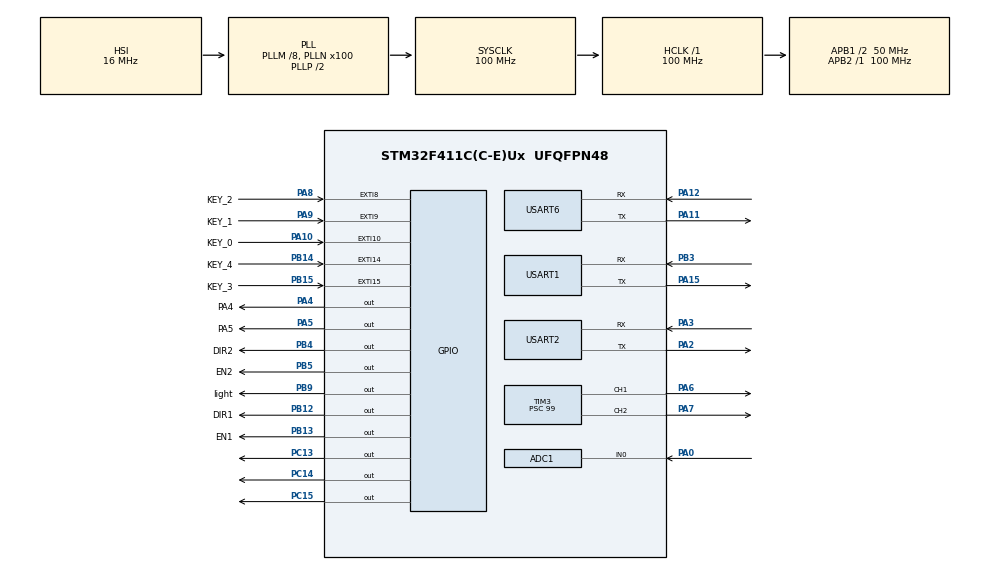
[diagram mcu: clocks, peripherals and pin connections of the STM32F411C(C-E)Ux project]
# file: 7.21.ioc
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ADC1.Channel-0\#ChannelRegularConversion=ADC_CHANNEL_0
ADC1.NbrOfConversionFlag=1
ADC1.Rank-0\#ChannelRegularConversion=1
ADC1.SamplingTime-0\#ChannelRegularConversion=ADC_SAMPLETIME_3CYCLES
ADC1.master=1
Mcu.Family=STM32F4
Mcu.Name=STM32F411C(C-E)Ux
Mcu.Package=UFQFPN48
NVIC.PriorityGroup=NVIC_PRIORITYGROUP_4
NVIC.TIM2_IRQn=true\:0\:0\:false\:false\:true\:true\:true\:true
NVIC.TIM4_IRQn=true\:0\:0\:false\:false\:true\:true\:true\:true
NVIC.USART1_IRQn=true\:0\:0\:false\:false\:true\:true\:true\:true
NVIC.USART2_IRQn=true\:0\:0\:false\:false\:true\:true\:true\:true
NVIC.USART6_IRQn=true\:0\:0\:false\:false\:true\:true\:true\:true
PA0-WKUP.Signal=ADCx_IN0
PA10.GPIO_Label=KEY_0
PA10.GPIO_PuPd=GPIO_PULLDOWN
PA10.Signal=GPXTI10
PA11.Mode=Asynchronous
PA11.Signal=USART6_TX
PA12.Mode=Asynchronous
PA12.Signal=USART6_RX
PA13.Mode=Serial_Wire
PA13.Signal=SYS_JTMS-SWDIO
PA14.Mode=Serial_Wire
PA14.Signal=SYS_JTCK-SWCLK
PA15.Mode=Asynchronous
PA15.Signal=USART1_TX
PA2.Mode=Asynchronous
PA2.Signal=USART2_TX
PA3.Mode=Asynchronous
PA3.Signal=USART2_RX
PA4.GPIO_Label=PA4
PA4.Signal=GPIO_Output
PA5.GPIO_Label=PA5
PA5.Signal=GPIO_Output
PA6.Signal=S_TIM3_CH1
PA7.Signal=S_TIM3_CH2
PA8.GPIO_Label=KEY_2
PA8.GPIO_PuPd=GPIO_PULLDOWN
PA8.Signal=GPXTI8
PA9.GPIO_Label=KEY_1
PA9.GPIO_PuPd=GPIO_PULLDOWN
PA9.Signal=GPXTI9
PB12.GPIO_Label=DIR1
PB12.GPIO_PuPd=GPIO_PULLUP
PB12.Signal=GPIO_Output
PB13.GPIO_Label=EN1
PB13.GPIO_PuPd=GPIO_PULLUP
PB13.Signal=GPIO_Output
PB14.GPIO_Label=KEY_4
PB14.GPIO_PuPd=GPIO_PULLDOWN
PB14.Signal=GPXTI14
PB15.GPIO_Label=KEY_3
PB15.GPIO_PuPd=GPIO_PULLDOWN
PB15.Signal=GPXTI15
PB3.Mode=Asynchronous
PB3.Signal=USART1_RX
PB4.GPIO_Label=DIR2
PB4.GPIO_PuPd=GPIO_PULLUP
PB4.Signal=GPIO_Output
PB5.GPIO_Label=EN2
PB5.GPIO_PuPd=GPIO_PULLUP
PB5.Signal=GPIO_Output
PB9.GPIO_Label=light
PB9.GPIO_PuPd=GPIO_PULLDOWN
PB9.GPIO_Speed=GPIO_SPEED_FREQ_LOW
PB9.PinState=GPIO_PIN_RESET
PB9.Signal=GPIO_Output
PC13-ANTI_TAMP.GPIO_Speed=GPIO_SPEED_FREQ_LOW
PC13-ANTI_TAMP.Signal=GPIO_Output
PC14-OSC32_IN.GPIO_Speed=GPIO_SPEED_FREQ_LOW
PC14-OSC32_IN.Signal=GPIO_Output
PC15-OSC32_OUT.GPIO_Speed=GPIO_SPEED_FREQ_LOW
PC15-OSC32_OUT.Signal=GPIO_Output
PH0\ -\ OSC_IN.Mode=HSE-External-Oscillator
PH0\ -\ OSC_IN.Signal=RCC_OSC_IN
PH1\ -\ OSC_OUT.Mode=HSE-External-Oscillator
PH1\ -\ OSC_OUT.Signal=RCC_OSC_OUT
ProjectManager.HeapSize=0x200
ProjectManager.StackSize=0x400
ProjectManager.TargetToolchain=MDK-ARM V5.32
RCC.48MHZClocksFreq_Value=50000000
RCC.AHBFreq_Value=100000000
RCC.APB1CLKDivider=RCC_HCLK_DIV2
RCC.APB1Freq_Value=50000000
RCC.APB1TimFreq_Value=100000000
RCC.APB2Freq_Value=100000000
RCC.APB2TimFreq_Value=100000000
RCC.CortexFreq_Value=100000000
RCC.HCLKFreq_Value=100000000
RCC.HSE_VALUE=25000000
RCC.HSI_VALUE=16000000
RCC.LSE_VALUE=32768
RCC.PLLM=8
RCC.PLLN=100
RCC.SYSCLKFreq_VALUE=100000000
RCC.SYSCLKSource=RCC_SYSCLKSOURCE_PLLCLK
RCC.VCOOutputFreq_Value=200000000
SH.ADCx_IN0.0=ADC1_IN0,IN0
SH.S_TIM3_CH1.0=TIM3_CH1,PWM Generation1 CH1
SH.S_TIM3_CH2.0=TIM3_CH2,PWM Generation2 CH2
TIM2.Period=9999
TIM2.Prescaler=9
TIM3.Channel-PWM\ Generation1\ CH1=TIM_CHANNEL_1
TIM3.Channel-PWM\ Generation2\ CH2=TIM_CHANNEL_2
TIM3.Period=20000-1
TIM3.Prescaler=99
TIM4.Period=9999
TIM4.Prescaler=9
USART1.VirtualMode=VM_ASYNC
USART2.VirtualMode=VM_ASYNC
USART6.VirtualMode=VM_ASYNC
VP_TIM2_VS_ClockSourceINT.Mode=Internal
VP_TIM3_VS_ClockSourceINT.Mode=Internal
VP_TIM4_VS_ClockSourceINT.Mode=Internal
board=custom

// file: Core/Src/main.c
/* USER CODE BEGIN Header */
/**
  ******************************************************************************
  * @file           : main.c
  * @brief          : Main program body
  ******************************************************************************
  * @attention
  *
  * Copyright (c) 2025 STMicroelectronics.
  * All rights reserved.
  *
  * This software is licensed under terms that can be found in the LICENSE file
  * in the root directory of this software component.
  * If no LICENSE file comes with this software, it is provided AS-IS.
  *
  ******************************************************************************
  */
/* USER CODE END Header */
#include "main.h"
#include "adc.h"
#include "tim.h"
#include "usart.h"
#include "gpio.h"

/* USER CODE BEGIN Includes */
#include "Stepper_Motor.h"
#include "Delay.h"
#include "yuntai.h"
#include "pid.h"
#include "oled.h"
#include "Bujin.h"
#include "usart_1.h"
#include "serial_it_config.h"
#include "duoji.h"
#include "pid_duoji.h"
#include "No_Mcu_Ganv_Grayscale_Sensor_Config.h"
/* USER CODE END Includes */

/* USER CODE BEGIN PTD */
void HAL_UART_RxCpltCallback(UART_HandleTypeDef *huart)

{
    if(huart->Instance == USART1)
    {
        UART1_RxCpltCallback(huart);
    }
    else if(huart->Instance == USART2)
    {
        UART2_RxCpltCallback(huart);
    }
    else if(huart->Instance == USART6)
    {
        UART3_RxCpltCallback(huart);
    }
}

/* USER CODE END PTD */

void SystemClock_Config(void);

int main(void)
{

  /* USER CODE BEGIN 1 */
	extern int flag;
  /* USER CODE END 1 */

  /* MCU Configuration--------------------------------------------------------*/

  /* Reset of all peripherals, Initializes the Flash interface and the Systick. */
  HAL_Init();

  /* Configure the system clock */
  SystemClock_Config();

  /* Initialize all configured peripherals */
  MX_GPIO_Init();
  MX_TIM3_Init();
  MX_USART1_UART_Init();
  MX_USART2_UART_Init();
  MX_USART6_UART_Init();
  MX_TIM2_Init();
  MX_TIM4_Init();
  MX_ADC1_Init();
  /* USER CODE BEGIN 2 */
	OLED_Init();
	USART_IT_Config();
	Stepper_Motor_Init();
//	Gimbal_Set_Target(90.0,90.0);
	HAL_GPIO_WritePin(GPIOB,light_Pin,1);
	Bujin_Init();
	HAL_GPIO_WritePin(GPIOB,light_Pin,0);
//	Gimbal_Set_Target(320,240);
	send_servo_command(0,1550,1000);
	send_servo_command(1,1750,1000);
	delay_ms(1000);
//	send_servo_command(0,1560,1000);
//	send_servo_command(1,1740,1000);
//	delay_ms(1000);
//	send_servo_command(0,1570,1000);
//	send_servo_command(1,1730,1000);
//	delay_ms(1000);
//	send_servo_command(0,1580,1000);
//	send_servo_command(1,1720,1000);

	set_target_position(320,240);
//	delay_ms(5000);
  init_path_points();

	HAL_TIM_Base_Start_IT(&htim2);

//	delay_ms(500);
//	set_target_position(240,160);
//	delay_ms(500);
//	set_target_position(400,160);
//	delay_ms(500);
//	set_target_position(400,320);
//	delay_ms(500);
//	set_target_position(240,320);

//	Motor_Move_A(0,10);
//	Motor_Move_B(0,10);
//	delay_ms(1000);
//	Stepper_Motor_Stop_A();
//	Stepper_Motor_Stop_B();
//	test();

//	Speed_bujin();
//	uint8_t usart_sent2[11];
//	StepperMotor motor3 = {
//			.address = 0x02,
//			.huart = &huart6, // 替换为你的 UART 句柄
//			.mode = ABS_ANGLE_CTRL,
//			.subdivision = 0x20, // 32 细分
//			.speed_rads_x10 = 0x000A, // 10 rad/s (0x0064 = 100)
//	};
//	BuildPositionControlFrame(&motor3, 400, CW, usart_sent2);
//	USART_SendArray(usart_sent2,sizeof(usart_sent2));
//	sanjiao();

//	delay_ms(2000);
//	BuildPositionControlFrame(&motor2, 900, CW, usart_sent2); // 100.0° 逆时针
//	USART_SendArray(usart_sent2,sizeof(usart_sent2));
//	BuildPositionControlFrame(&motor1, 900, CW, usart_sent1); // 100.0° 逆时针
//	delay_ms(10);
//	USART_SendArray(usart_sent1,sizeof(usart_sent1));

  /* USER CODE END 2 */

  /* Infinite loop */
  while (1)
  {

    /* USER CODE BEGIN 3 */
//		Gimbal_Update_Position();
			OLED_Update();
			control_loop();
//		OLED_Printf(0,32,OLED_8X16,"ok");
//			ControlSystem_Update(320,240);
//			if(flag==1)
//			{
//				ControlSystem_Update(240,206);
//			}
//			if(flag==2)
//			{
//				ControlSystem_Update(166,106);
//			}
//		HAL_Delay(10);
  }
  /* USER CODE END 3 */
}

void SystemClock_Config(void)
{
  RCC_OscInitTypeDef RCC_OscInitStruct = {0};
  RCC_ClkInitTypeDef RCC_ClkInitStruct = {0};

  /** Configure the main internal regulator output voltage
  */
  __HAL_RCC_PWR_CLK_ENABLE();
  __HAL_PWR_VOLTAGESCALING_CONFIG(PWR_REGULATOR_VOLTAGE_SCALE1);

  /** Initializes the RCC Oscillators according to the specified parameters
  * in the RCC_OscInitTypeDef structure.
  */
  RCC_OscInitStruct.OscillatorType = RCC_OSCILLATORTYPE_HSI;
  RCC_OscInitStruct.HSIState = RCC_HSI_ON;
  RCC_OscInitStruct.HSICalibrationValue = RCC_HSICALIBRATION_DEFAULT;
  RCC_OscInitStruct.PLL.PLLState = RCC_PLL_ON;
  RCC_OscInitStruct.PLL.PLLSource = RCC_PLLSOURCE_HSI;
  RCC_OscInitStruct.PLL.PLLM = 8;
  RCC_OscInitStruct.PLL.PLLN = 100;
  RCC_OscInitStruct.PLL.PLLP = RCC_PLLP_DIV2;
  RCC_OscInitStruct.PLL.PLLQ = 4;
  if (HAL_RCC_OscConfig(&RCC_OscInitStruct) != HAL_OK)
  {
    Error_Handler();
  }

  /** Initializes the CPU, AHB and APB buses clocks
  */
  RCC_ClkInitStruct.ClockType = RCC_CLOCKTYPE_HCLK|RCC_CLOCKTYPE_SYSCLK
                              |RCC_CLOCKTYPE_PCLK1|RCC_CLOCKTYPE_PCLK2;
  RCC_ClkInitStruct.SYSCLKSource = RCC_SYSCLKSOURCE_PLLCLK;
  RCC_ClkInitStruct.AHBCLKDivider = RCC_SYSCLK_DIV1;
  RCC_ClkInitStruct.APB1CLKDivider = RCC_HCLK_DIV2;
  RCC_ClkInitStruct.APB2CLKDivider = RCC_HCLK_DIV1;

  if (HAL_RCC_ClockConfig(&RCC_ClkInitStruct, FLASH_LATENCY_3) != HAL_OK)
  {
    Error_Handler();
  }
}

/* USER CODE BEGIN 4 */
//void HAL_TIM_PeriodElapsedCallback(TIM_HandleTypeDef *htim)
//{
//    if (htim == &htim2)  // X�ᶨʱ��
//    {
//        stepX();
//    }
//    else if (htim == &htim4)  // Y�ᶨʱ��
//    {
//        stepY();
//    }
//}
/* USER CODE END 4 */

void Error_Handler(void)
{
  __disable_irq();
  while (1)
  {
  }
}
